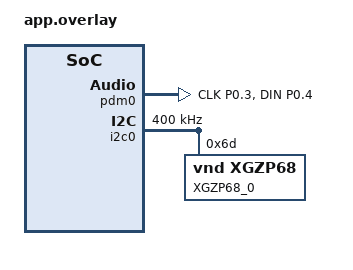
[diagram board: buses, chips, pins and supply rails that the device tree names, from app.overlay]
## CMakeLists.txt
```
cmake_minimum_required(VERSION 3.20.0)
find_package(Zephyr REQUIRED HINTS $ENV{ZEPHYR_BASE})

project(app)

include_directories(src)

target_sources(app PRIVATE src/main.c src/pdm_microphone.c)
```

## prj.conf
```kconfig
# PDM driver
CONFIG_AUDIO=y
CONFIG_AUDIO_DMIC=y

# USB related configs
CONFIG_USB_DEVICE_STACK=y
CONFIG_USB_DEVICE_PRODUCT="Zephyr USB Audio Test Device"
CONFIG_USB_DEVICE_INITIALIZE_AT_BOOT=n

# LOG subsystem related configs
CONFIG_LOG=y
CONFIG_LOG_BACKEND_RTT=y

CONFIG_USB_DRIVER_LOG_LEVEL_ERR=y
CONFIG_USB_DEVICE_LOG_LEVEL_ERR=y

CONFIG_CBPRINTF_FP_SUPPORT=y

# net buf options
CONFIG_NET_BUF=y

# USB audio related configs
CONFIG_USB_DEVICE_AUDIO=y

CONFIG_STDOUT_CONSOLE=y
CONFIG_RING_BUFFER=y

# TMI pressure driver
CONFIG_TMI_DRV_XGZP68=y

# Timer
CONFIG_COUNTER=y
CONFIG_TIMING_FUNCTIONS=y
```

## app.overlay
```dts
&pinctrl {
	pdm0_default_alt: pdm0_default_alt {
		group1 {
			psels = <NRF_PSEL(PDM_CLK, 0, 3)>,
				<NRF_PSEL(PDM_DIN, 0, 4)>;
		};
	};
};

pdm_dev: &pdm0 {
	status = "okay";
	pinctrl-0 = <&pdm0_default_alt>;
	pinctrl-names = "default";
	clock-source = "PCLK32M_HFXO";
	queue-size = <16>;
};

&zephyr_udc0 {
	mic_0 {
		compatible = "usb-audio-mic";
		// sample-rate-hz = <16000>;
		feature-mute;
		channel-l;
		channel-r;
	};
};

&i2c0 {
	status = "okay";
	pinctrl-0 = <&i2c0_default>;
	pinctrl-1 = <&i2c0_sleep>;
	pinctrl-names = "default", "sleep";
	clock-frequency = <I2C_BITRATE_FAST>;
	xgzp68: xgzp68@6D {
		compatible = "vnd,xgzp68";
		status = "okay";
		label = "XGZP68_0";
		reg = <0x6D>;
	};
};
```

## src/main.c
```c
#include <zephyr/kernel.h>
#include <zephyr/timing/timing.h>

#include "pdm_microphone.h"
#include <tmi/drv/xgzp68/xgzp68.h>

static const struct device *const pdm_dev = DEVICE_DT_GET(DT_NODELABEL(pdm_dev));
static const struct device *const pressure_dev = DEVICE_DT_GET_ONE(vnd_xgzp68);
static const struct device *const usb_dev = DEVICE_DT_GET_ONE(usb_audio_mic);

void print_pressure() {
	float pressure;
	// int64_t us = k_uptime_ticks() * 1000000LL / CONFIG_SYS_CLOCK_TICKS_PER_SEC;
	pressure_get(pressure_dev, &pressure);
	// printk("%lld us, %f\n", us, (double)pressure);
	printk("prs%fprs\n", (double)pressure);
}

K_WORK_DEFINE(pressure_work, print_pressure);

void pressure_timer_handler(struct k_timer *dummy) {
    k_work_submit(&pressure_work);
}

K_TIMER_DEFINE(pressure_timer, pressure_timer_handler, NULL);

int main(void) {
	printk("[LOG] Starting application...\n");
	int ret;

	/* Set up PDM microphone */
	printk("[LOG] PDM setup\n");

	ret = device_is_ready(pdm_dev);
	if (ret < 0) {
		printk("Device USB Microphone is not ready\n");
		return ret;
	}

	printk("[LOG] Starting Audio thread\n");
	ret = audio_init_record_thread(pdm_dev);

	/* Set up USB Audio */
	printk("[LOG] USB Audio setup\n");

	ret = device_is_ready(usb_dev);
	if (ret < 0) {
		printk("Device USB Microphone is not ready\n");
		return ret;
	}
	ret = usb_audio_init(usb_dev);
	if(ret < 0) {
		return ret;
	}
	printk("[LOG] USB Audio setup complete\n");

	/* Set up pressure */
	pressure_start(pressure_dev);
	k_timer_start(&pressure_timer, K_MSEC(5), K_MSEC(5));

	// Main while loop
	while(1){
		k_msleep(1000);
	}

	// Shouldn't reach here
	audio_deinit_record_thread();
	printk("[LOG] Ending application...");

	return ret;
}
```

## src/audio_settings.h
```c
#pragma once

#define SAMPLE_FREQUENCY   16000
#define SAMPLE_BIT_WIDTH   16
#define BYTES_PER_SAMPLE   sizeof(int16_t)
#define NUMBER_OF_CHANNELS 2

// F/50 = 20 ms
#define SAMPLES_PER_BLOCK      ((SAMPLE_FREQUENCY / 50) * NUMBER_OF_CHANNELS)
#define SAMPLES_PER_BLOCK_OPUS ((SAMPLE_FREQUENCY / 50) * NUMBER_OF_CHANNELS)
#define INITIAL_BLOCKS         10
#define READ_TIMEOUT           1000

#define BLOCK_SIZE      (BYTES_PER_SAMPLE * SAMPLES_PER_BLOCK)
#define BLOCK_SIZE_OPUS (BYTES_PER_SAMPLE * SAMPLES_PER_BLOCK_OPUS)
#define BLOCK_COUNT     (INITIAL_BLOCKS)
```

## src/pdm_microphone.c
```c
#include "pdm_microphone.h"

// -----------------------------------
// PDM microphone
// -----------------------------------
K_MEM_SLAB_DEFINE_STATIC(mem_slab, BLOCK_SIZE, BLOCK_COUNT, 4);
RING_BUF_ITEM_DECLARE_POW2(ring_buf, 15);

static int pdm_init(const struct device* dev) {
	int ret;

	struct pcm_stream_cfg stream = {
		.pcm_rate = SAMPLE_FREQUENCY,
		.pcm_width = SAMPLE_BIT_WIDTH,
		.block_size = BLOCK_SIZE,
		.mem_slab  = &mem_slab
	};

	struct dmic_cfg cfg = {
		.io = {
			/* These fields can be used to limit the PDM clock
				* configurations that the driver is allowed to use
				* to those supported by the microphone.
				*/
			.min_pdm_clk_freq = 1000000,
			.max_pdm_clk_freq = 4800000,
			.min_pdm_clk_dc   = 40, // Clk duty cycle, min: 40%, max: 60%
			.max_pdm_clk_dc   = 60
		},
		.streams = &stream,
		.channel = {
			.req_num_chan = 2,
			.req_num_streams = 1
		},
	};

	cfg.channel.req_chan_map_lo = dmic_build_channel_map(1, 0, PDM_CHAN_LEFT) | dmic_build_channel_map(0, 0, PDM_CHAN_RIGHT);

	printk("PCM output rate: %u, channels: %u", cfg.streams[0].pcm_rate, cfg.channel.req_num_chan);

	ret = dmic_configure(dev, &cfg);
	if (ret < 0) {
		printk("Failed to configure the driver: %d", ret);
		return ret;
	}

	ret = dmic_trigger(dev, DMIC_TRIGGER_START);
	if (ret < 0) {
		printk("START trigger failed: %d", ret);
		return ret;
	}

	return 0;
}

static int pdm_stop(const struct device* dev){
	int ret;
	ret = dmic_trigger(dev, DMIC_TRIGGER_STOP);
	return ret;
}

// -----------------------------------
// Audio process management
// -----------------------------------
k_tid_t audio_tid = NULL;
struct k_thread audio_thread_data;
K_THREAD_STACK_DEFINE(audio_stack_area, AUDIO_STACK_SIZE);

/**
 * @brief Audio processing loop, could be used for all actuation detection processing
 */
static void audio_loop(const struct device* dev){
	int ret;

	while(1) {
		/* Read data from PDM microphone */
		uint8_t *buffer = NULL;
		uint32_t size = 0;

		ret = dmic_read(dev, 0, (void *)&buffer, &size, READ_TIMEOUT);
		if (ret < 0) {
			printk("read failed: %d\n", ret);
			return;
		}

		/* Copy data to ring buffer */
		ret = ring_buf_put(&ring_buf, buffer, size); // Returns number of bytes copied to ring buffer
		// if (ret < size){
		// 	printk("RING BUFFER FULL");
		// }
		k_mem_slab_free(&mem_slab, (void *)buffer);
	}

	ret = pdm_stop(dev);
	if(ret < 0) {
		return;
	}
}

int audio_init_record_thread(const struct device* dev){
	int ret;
	ret = pdm_init(dev);

	audio_tid = k_thread_create(&audio_thread_data, audio_stack_area, 
								K_THREAD_STACK_SIZEOF(audio_stack_area), 
								(k_thread_entry_t)audio_loop, 
								dev, NULL, NULL, AUDIO_PRIORITY, 0, K_MSEC(0));
    k_thread_name_set(&audio_thread_data, "Audio RX");

	return ret;
}

void audio_deinit_record_thread(){
	k_thread_join(audio_tid, K_MSEC(200));
	k_thread_abort(audio_tid);
}

// -----------------------------------
// USB Audio
// -----------------------------------
NET_BUF_POOL_FIXED_DEFINE(usb_audio_pool, CONFIG_USB_MAX_NUM_TRANSFERS, USB_BLOCK_SIZE, 0, NULL);
static void process_data(const struct device* dev) {
	int ret;

    if (ring_buf_size_get(&ring_buf) < USB_BLOCK_SIZE) {
        return;
    }

    // Allocate a new buffer inside the memory pool
    struct net_buf *buf = net_buf_alloc_fixed(&usb_audio_pool, K_NO_WAIT);

    if (buf != NULL) {
        // Copy data from ring buffer to temp buffer
        uint8_t tmp_buf[USB_BLOCK_SIZE];
        ring_buf_get(&ring_buf, tmp_buf, USB_BLOCK_SIZE);
		// Copy data from temp buffer to the buffer in the memory pool
        net_buf_add_mem(buf, tmp_buf, USB_BLOCK_SIZE);

        ret = usb_audio_send(dev, buf, USB_BLOCK_SIZE);
        if (ret < 0) {
            printk("[ERROR] USB Audio data_request_cb error");
            net_buf_unref(buf);
        }
    } else {
        printk("[ERROR] USB net_buf alloc error");
    }
}

static const struct usb_audio_ops mic_ops = {
	.data_request_cb = process_data
};

int usb_audio_init(const struct device* dev) {
	int ret;

	usb_audio_register(dev, &mic_ops);

	ret = usb_enable(NULL);
	if (ret != 0) {
        printk("[ERROR] USB Audio failed to enable");
		return -1;
	}

	return 0;
}
```

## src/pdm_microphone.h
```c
#include <zephyr/kernel.h>
#include <zephyr/audio/dmic.h>
#include <zephyr/usb/usb_device.h>
#include <zephyr/usb/class/usb_audio.h>

#include <zephyr/sys/ring_buffer.h>

#define SAMPLE_FREQUENCY   16000
#define SAMPLE_BIT_WIDTH   16
#define BYTES_PER_SAMPLE   sizeof(int16_t)
#define NUMBER_OF_CHANNELS 2

#define SAMPLES_PER_BLOCK      ((SAMPLE_FREQUENCY / 50) * NUMBER_OF_CHANNELS)
#define SAMPLES_PER_BLOCK_OPUS ((SAMPLE_FREQUENCY / 50) * NUMBER_OF_CHANNELS)
#define INITIAL_BLOCKS         10
#define READ_TIMEOUT           1000

#define BLOCK_SIZE      (BYTES_PER_SAMPLE * SAMPLES_PER_BLOCK)
#define BLOCK_SIZE_OPUS (BYTES_PER_SAMPLE * SAMPLES_PER_BLOCK_OPUS)
#define BLOCK_COUNT     (INITIAL_BLOCKS)

// -----------------------------------
// Recording thread handling
// -----------------------------------
#define AUDIO_STACK_SIZE 5000
#define AUDIO_PRIORITY   -2
int audio_init_record_thread(const struct device* dev);
void audio_deinit_record_thread();

// -----------------------------------
// USB Audio handling, only needed for testing
// -----------------------------------
#define USB_BLOCK_SIZE 192 // Buffer size required for USB Audio
int usb_audio_init(const struct device *dev);
```
